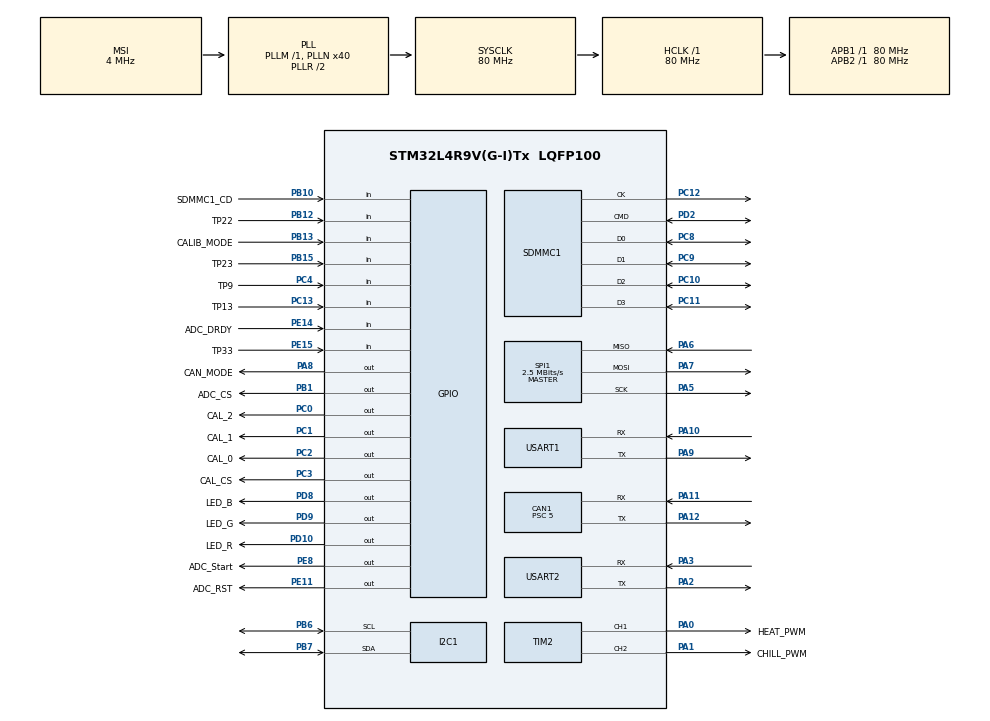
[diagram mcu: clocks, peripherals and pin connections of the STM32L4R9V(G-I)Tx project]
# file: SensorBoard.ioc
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CAN1.AWUM=ENABLE
CAN1.BS1=CAN_BS1_13TQ
CAN1.BS2=CAN_BS2_2TQ
CAN1.CalculateBaudRate=1000000
CAN1.CalculateTimeBit=1000.00
CAN1.CalculateTimeQuantum=62.5
CAN1.NART=ENABLE
CAN1.Prescaler=5
Dma.Request0=USART1_TX
Dma.USART1_TX.0.Direction=DMA_MEMORY_TO_PERIPH
Dma.USART1_TX.0.EventEnable=DISABLE
Dma.USART1_TX.0.Instance=DMA1_Channel1
Dma.USART1_TX.0.MemDataAlignment=DMA_MDATAALIGN_BYTE
Dma.USART1_TX.0.MemInc=DMA_MINC_ENABLE
Dma.USART1_TX.0.Mode=DMA_NORMAL
Dma.USART1_TX.0.PeriphDataAlignment=DMA_PDATAALIGN_BYTE
Dma.USART1_TX.0.PeriphInc=DMA_PINC_DISABLE
Dma.USART1_TX.0.Polarity=HAL_DMAMUX_REQUEST_GEN_RISING
Dma.USART1_TX.0.Priority=DMA_PRIORITY_LOW
Dma.USART1_TX.0.RequestNumber=1
Dma.USART1_TX.0.SignalID=NONE
Dma.USART1_TX.0.SyncEnable=DISABLE
Dma.USART1_TX.0.SyncPolarity=HAL_DMAMUX_SYNC_NO_EVENT
Dma.USART1_TX.0.SyncRequestNumber=1
Dma.USART1_TX.0.SyncSignalID=NONE
FATFS.BSP.number=1
FATFS._FS_EXFAT=1
FATFS._FS_LOCK=1
FATFS._FS_RPATH=2
FATFS._USE_CHMOD=1
FATFS._USE_EXPAND=1
FATFS._USE_FIND=1
FATFS._USE_FORWARD=1
FATFS._USE_LABEL=1
FATFS._USE_LFN=3
FATFS._USE_MUTEX=1
FATFS._USE_TRIM=1
FATFS0.BSP.STBoard=false
FATFS0.BSP.api=Unknown
FATFS0.BSP.i2caddr=0
FATFS0.BSP.instance=PB10
FATFS0.BSP.ip=GPIO
FATFS0.BSP.mode=Input
FATFS0.BSP.name=Detect_SDIO
FATFS0.BSP.solution=PB10
FREERTOS.HEAP_NUMBER=5
FREERTOS.INCLUDE_pcTaskGetTaskName=1
FREERTOS.INCLUDE_uxTaskGetStackHighWaterMark2=1
FREERTOS.INCLUDE_vTaskCleanUpResources=1
FREERTOS.INCLUDE_xEventGroupSetBitFromISR=1
FREERTOS.INCLUDE_xSemaphoreGetMutexHolder=1
FREERTOS.INCLUDE_xTaskAbortDelay=1
FREERTOS.INCLUDE_xTaskGetCurrentTaskHandle=1
FREERTOS.INCLUDE_xTaskGetHandle=1
FREERTOS.Tasks01=defaultTask,24,2048,StartDefaultTask,Default,NULL,Dynamic,NULL,NULL
FREERTOS.configCHECK_FOR_STACK_OVERFLOW=2
FREERTOS.configENABLE_FPU=1
FREERTOS.configGENERATE_RUN_TIME_STATS=0
FREERTOS.configMINIMAL_STACK_SIZE=2048
FREERTOS.configRECORD_STACK_HIGH_ADDRESS=1
FREERTOS.configTOTAL_HEAP_SIZE=200000
FREERTOS.configUSE_IDLE_HOOK=0
FREERTOS.configUSE_MALLOC_FAILED_HOOK=1
FREERTOS.configUSE_NEWLIB_REENTRANT=1
FREERTOS.configUSE_POSIX_ERRNO=1
FREERTOS.configUSE_STATS_FORMATTING_FUNCTIONS=0
FREERTOS.configUSE_TICK_HOOK=0
FREERTOS.configUSE_TRACE_FACILITY=0
I2C1.Timeout=0x00008061
I2C1.Timing=0x10909CEC
Mcu.Family=STM32L4
Mcu.Name=STM32L4R9V(G-I)Tx
Mcu.Package=LQFP100
NVIC.CAN1_RX0_IRQn=true\:5\:0\:false\:false\:true\:true\:true\:true
NVIC.CAN1_RX1_IRQn=true\:5\:0\:false\:false\:true\:true\:true\:true
NVIC.CAN1_TX_IRQn=true\:5\:0\:false\:false\:true\:true\:true\:true
NVIC.DMA1_Channel1_IRQn=true\:5\:0\:false\:false\:true\:true\:false\:true
NVIC.PriorityGroup=NVIC_PRIORITYGROUP_4
NVIC.RNG_IRQn=true\:5\:0\:false\:false\:true\:true\:true\:true
NVIC.SDMMC1_IRQn=true\:5\:0\:false\:false\:true\:true\:true\:true
NVIC.SPI1_IRQn=true\:5\:0\:false\:false\:true\:true\:true\:true
NVIC.TIM1_BRK_TIM15_IRQn=true\:5\:0\:false\:false\:true\:true\:true\:true
NVIC.TIM1_TRG_COM_TIM17_IRQn=true\:0\:0\:false\:false\:true\:false\:false\:true
NVIC.TIM1_UP_TIM16_IRQn=true\:5\:0\:false\:false\:true\:true\:true\:true
NVIC.TimeBase=TIM1_TRG_COM_TIM17_IRQn
NVIC.TimeBaseIP=TIM17
NVIC.USART1_IRQn=true\:5\:0\:false\:false\:true\:true\:true\:true
NVIC.USART2_IRQn=true\:5\:0\:false\:false\:true\:true\:true\:true
PA0.GPIO_Label=HEAT_PWM
PA0.Signal=S_TIM2_CH1
PA1.GPIO_Label=CHILL_PWM
PA1.Signal=S_TIM2_CH2
PA10.Mode=Asynchronous
PA10.Signal=USART1_RX
PA11.Mode=CAN_Activate
PA11.Signal=CAN1_RX
PA12.Mode=CAN_Activate
PA12.Signal=CAN1_TX
PA13\ (JTMS/SWDIO).Mode=Trace_Synchro_4bits_JTAG
PA13\ (JTMS/SWDIO).Signal=SYS_JTMS-SWDIO
PA14\ (JTCK/SWCLK).Mode=Trace_Synchro_4bits_JTAG
PA14\ (JTCK/SWCLK).Signal=SYS_JTCK-SWCLK
PA15\ (JTDI).Mode=Trace_Synchro_4bits_JTAG
PA15\ (JTDI).Signal=SYS_JTDI
PA2.Mode=Asynchronous
PA2.Signal=USART2_TX
PA3.Mode=Asynchronous
PA3.Signal=USART2_RX
PA5.Mode=Full_Duplex_Master
PA5.Signal=SPI1_SCK
PA6.Mode=Full_Duplex_Master
PA6.Signal=SPI1_MISO
PA7.Mode=Full_Duplex_Master
PA7.Signal=SPI1_MOSI
PA8.GPIO_Label=CAN_MODE
PA8.Signal=GPIO_Output
PA9.Mode=Asynchronous
PA9.Signal=USART1_TX
PB1.GPIO_Label=ADC_CS
PB1.Signal=GPIO_Output
PB10.GPIO_Label=SDMMC1_CD
PB10.Signal=GPIO_Input
PB12.GPIO_Label=TP22
PB12.Signal=GPIO_Input
PB13.GPIO_Label=CALIB_MODE
PB13.Signal=GPIO_Input
PB15.GPIO_Label=TP23
PB15.Signal=GPIO_Input
PB3\ (JTDO/TRACESWO).Mode=Trace_Synchro_4bits_JTAG
PB3\ (JTDO/TRACESWO).Signal=SYS_JTDO-SWO
PB6.Mode=I2C
PB6.Signal=I2C1_SCL
PB7.Mode=I2C
PB7.Signal=I2C1_SDA
PC0.GPIO_Label=CAL_2
PC0.Signal=GPIO_Output
PC1.GPIO_Label=CAL_1
PC1.Signal=GPIO_Output
PC10.Mode=SD_4_bits_Wide_bus
PC10.Signal=SDMMC1_D2
PC11.Mode=SD_4_bits_Wide_bus
PC11.Signal=SDMMC1_D3
PC12.Mode=SD_4_bits_Wide_bus
PC12.Signal=SDMMC1_CK
PC13.GPIO_Label=TP13
PC13.Signal=GPIO_Input
PC2.GPIO_Label=CAL_0
PC2.Signal=GPIO_Output
PC3.GPIO_Label=CAL_CS
PC3.Signal=GPIO_Output
PC4.GPIO_Label=TP9
PC4.Signal=GPIO_Input
PC8.Mode=SD_4_bits_Wide_bus
PC8.Signal=SDMMC1_D0
PC9.Mode=SD_4_bits_Wide_bus
PC9.Signal=SDMMC1_D1
PD10.GPIO_Label=LED_R
PD10.Signal=GPIO_Output
PD2.Mode=SD_4_bits_Wide_bus
PD2.Signal=SDMMC1_CMD
PD8.GPIO_Label=LED_B
PD8.Signal=GPIO_Output
PD9.GPIO_Label=LED_G
PD9.Signal=GPIO_Output
PE11.GPIO_Label=ADC_RST
PE11.Signal=GPIO_Output
PE14.GPIO_Label=ADC_DRDY
PE14.Signal=GPIO_Input
PE15.GPIO_Label=TP33
PE15.Signal=GPIO_Input
PE2.Mode=Trace_Synchro_4bits_JTAG
PE2.Signal=SYS_TRACECLK
PE3.Mode=Trace_Synchro_4bits_JTAG
PE3.Signal=SYS_TRACED0
PE4.Mode=Trace_Synchro_4bits_JTAG
PE4.Signal=SYS_TRACED1
PE5.Mode=Trace_Synchro_4bits_JTAG
PE5.Signal=SYS_TRACED2
PE6.Mode=Trace_Synchro_4bits_JTAG
PE6.Signal=SYS_TRACED3
PE8.GPIO_Label=ADC_Start
PE8.Signal=GPIO_Output
ProjectManager.HeapSize=0x400
ProjectManager.StackSize=0x800
ProjectManager.TargetToolchain=STM32CubeIDE
RCC.ADCFreq_Value=32000000
RCC.AHBFreq_Value=80000000
RCC.APB1Freq_Value=80000000
RCC.APB1TimFreq_Value=80000000
RCC.APB2Freq_Value=80000000
RCC.APB2TimFreq_Value=80000000
RCC.CortexFreq_Value=80000000
RCC.HCLKFreq_Value=80000000
RCC.HSE_VALUE=8000000
RCC.HSI48_VALUE=48000000
RCC.HSI_VALUE=16000000
RCC.LSE_VALUE=32768
RCC.MSI_VALUE=4000000
RCC.PLLN=40
RCC.PLLP=RCC_PLLP_DIV4
RCC.PLLSAI1N=16
RCC.SYSCLKFreq_VALUE=80000000
RCC.SYSCLKSource=RCC_SYSCLKSOURCE_PLLCLK
RCC.USBFreq_Value=32000000
RCC.VCOOutputFreq_Value=160000000
SDMMC1.ClockDiv=8
SDMMC1.HardwareFlowControl=SDMMC_HARDWARE_FLOW_CONTROL_ENABLE
SH.S_TIM2_CH1.0=TIM2_CH1,PWM Generation1 CH1
SH.S_TIM2_CH2.0=TIM2_CH2,PWM Generation2 CH2
SPI1.BaudRatePrescaler=SPI_BAUDRATEPRESCALER_32
SPI1.CLKPolarity=SPI_POLARITY_HIGH
SPI1.CalculateBaudRate=2.5 MBits/s
SPI1.DataSize=SPI_DATASIZE_8BIT
SPI1.Direction=SPI_DIRECTION_2LINES
SPI1.Mode=SPI_MODE_MASTER
SPI1.NSSPMode=SPI_NSS_PULSE_DISABLE
SPI1.VirtualType=VM_MASTER
TIM15.Period=1000
TIM15.Prescaler=80-1
TIM16.Prescaler=80-1
TIM2.Channel-PWM\ Generation1\ CH1=TIM_CHANNEL_1
TIM2.Channel-PWM\ Generation2\ CH2=TIM_CHANNEL_2
USART1.VirtualMode-Asynchronous=VM_ASYNC
USART2.VirtualMode-Asynchronous=VM_ASYNC
VP_CRC_VS_CRC.Mode=CRC_Activate
VP_FATFS_VS_SDIO.Mode=SDIO
VP_FREERTOS_VS_CMSIS_V2.Mode=CMSIS_V2
VP_RNG_VS_RNG.Mode=RNG_Activate
VP_SYS_VS_tim17.Mode=TIM17
VP_TIM15_VS_ClockSourceINT.Mode=Internal
VP_TIM16_VS_ClockSourceINT.Mode=Enable_Timer
board=custom

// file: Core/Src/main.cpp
/* USER CODE BEGIN Header */
/**
 ******************************************************************************
 * @file           : main.c
 * @brief          : Main program body
 ******************************************************************************
 * @attention
 *
 * <h2><center>&copy; Copyright (c) 2021 STMicroelectronics.
 * All rights reserved.</center></h2>
 *
 * This software component is licensed by ST under BSD 3-Clause license,
 * the "License"; You may not use this file except in compliance with the
 * License. You may obtain a copy of the License at:
 *                        opensource.org/licenses/BSD-3-Clause
 *
 ******************************************************************************
 */

/* USER CODE END Header */
#include "main.h"
#include "cmsis_os.h"
#include "can.h"
#include "crc.h"
#include "dma.h"
#include "fatfs.h"
#include "i2c.h"
#include "rng.h"
#include "sdmmc.h"
#include "spi.h"
#include "tim.h"
#include "usart.h"
#include "gpio.h"

/* USER CODE BEGIN Includes */
#include "bsp/DS28CM00ID/DS28CM00ID.h"
#include "bsp/LEDs/LEDManager.h"
#include "Logging/UARTLogHandler.h"
#include "bsp/UART/UARTManager.h"
/* USER CODE END Includes */

/* USER CODE BEGIN PV */
DS28CM00_ID id1(&hi2c1);
LEDManager leds(
{ .port = GPIOD, .pin = LED_R_Pin },
{ .port = GPIOD, .pin = LED_G_Pin },
{ .port = GPIOD, .pin = LED_B_Pin });
UARTManager uartMan(&huart1);
UARTLogHandler *handler(UARTLogHandler::configure(&uartMan, LOG_LEVEL_ALL));
Logger Log("app");
/* USER CODE END PV */

void SystemClock_Config(void);
void MX_FREERTOS_Init(void);

/* USER CODE BEGIN 0 */
void* operator new(std::size_t sz)
{
    return pvPortMalloc(sz);
}

void operator delete(void* ptr) noexcept
{
	vPortFree(ptr);
}
/* USER CODE END 0 */

int main(void)
{

	/* MCU Configuration--------------------------------------------------------*/

	/* Reset of all peripherals, Initializes the Flash interface and the Systick. */
	HAL_Init();

	/* Configure the system clock */
	SystemClock_Config();

	/* Initialize all configured peripherals */
	MX_GPIO_Init();
	MX_DMA_Init();
	MX_CAN1_Init();
	MX_I2C1_Init();
	MX_SDMMC1_SD_Init();
	MX_SPI1_Init();
	MX_USART1_UART_Init();
	MX_USART2_UART_Init();
	MX_TIM2_Init();
	MX_CRC_Init();
	MX_RNG_Init();
	MX_FATFS_Init();
	MX_TIM15_Init();
	MX_TIM16_Init();
	/* USER CODE BEGIN 2 */
	HAL_GPIO_WritePin(CAN_MODE_GPIO_Port, CAN_MODE_Pin, GPIO_PIN_RESET);
	/* USER CODE END 2 */

	/* Init scheduler */
	osKernelInitialize(); /* Call init function for freertos objects (in freertos.c) */
	MX_FREERTOS_Init();
	/* Start scheduler */
	osKernelStart();

	/* We should never get here as control is now taken by the scheduler */
	/* Infinite loop */
	/* USER CODE BEGIN WHILE */
	while (1)
	{
//		HAL_Delay(5000);
//		HAL_NVIC_SystemReset();

		/* USER CODE END WHILE */
	}
}

void SystemClock_Config(void)
{
	RCC_OscInitTypeDef RCC_OscInitStruct =
	{ 0 };
	RCC_ClkInitTypeDef RCC_ClkInitStruct =
	{ 0 };
	RCC_PeriphCLKInitTypeDef PeriphClkInit =
	{ 0 };

	/** Configure the main internal regulator output voltage
	 */
	if (HAL_PWREx_ControlVoltageScaling(PWR_REGULATOR_VOLTAGE_SCALE1) != HAL_OK)
	{
		Error_Handler();
	}
	/** Initializes the RCC Oscillators according to the specified parameters
	 * in the RCC_OscInitTypeDef structure.
	 */
	RCC_OscInitStruct.OscillatorType = RCC_OSCILLATORTYPE_MSI;
	RCC_OscInitStruct.MSIState = RCC_MSI_ON;
	RCC_OscInitStruct.MSICalibrationValue = 0;
	RCC_OscInitStruct.MSIClockRange = RCC_MSIRANGE_6;
	RCC_OscInitStruct.PLL.PLLState = RCC_PLL_ON;
	RCC_OscInitStruct.PLL.PLLSource = RCC_PLLSOURCE_MSI;
	RCC_OscInitStruct.PLL.PLLM = 1;
	RCC_OscInitStruct.PLL.PLLN = 40;
	RCC_OscInitStruct.PLL.PLLP = RCC_PLLP_DIV4;
	RCC_OscInitStruct.PLL.PLLQ = RCC_PLLQ_DIV2;
	RCC_OscInitStruct.PLL.PLLR = RCC_PLLR_DIV2;
	if (HAL_RCC_OscConfig(&RCC_OscInitStruct) != HAL_OK)
	{
		Error_Handler();
	}
	/** Initializes the CPU, AHB and APB buses clocks
	 */
	RCC_ClkInitStruct.ClockType = RCC_CLOCKTYPE_HCLK | RCC_CLOCKTYPE_SYSCLK
			| RCC_CLOCKTYPE_PCLK1 | RCC_CLOCKTYPE_PCLK2;
	RCC_ClkInitStruct.SYSCLKSource = RCC_SYSCLKSOURCE_PLLCLK;
	RCC_ClkInitStruct.AHBCLKDivider = RCC_SYSCLK_DIV1;
	RCC_ClkInitStruct.APB1CLKDivider = RCC_HCLK_DIV1;
	RCC_ClkInitStruct.APB2CLKDivider = RCC_HCLK_DIV1;

	if (HAL_RCC_ClockConfig(&RCC_ClkInitStruct, FLASH_LATENCY_3) != HAL_OK)
	{
		Error_Handler();
	}
	PeriphClkInit.PeriphClockSelection = RCC_PERIPHCLK_USART1
			| RCC_PERIPHCLK_USART2 | RCC_PERIPHCLK_I2C1 | RCC_PERIPHCLK_SDMMC1
			| RCC_PERIPHCLK_RNG;
	PeriphClkInit.Usart1ClockSelection = RCC_USART1CLKSOURCE_PCLK2;
	PeriphClkInit.Usart2ClockSelection = RCC_USART2CLKSOURCE_PCLK1;
	PeriphClkInit.I2c1ClockSelection = RCC_I2C1CLKSOURCE_PCLK1;
	PeriphClkInit.RngClockSelection = RCC_RNGCLKSOURCE_PLLSAI1;
	PeriphClkInit.Sdmmc1ClockSelection = RCC_SDMMC1CLKSOURCE_PLLP;
	PeriphClkInit.PLLSAI1.PLLSAI1Source = RCC_PLLSOURCE_MSI;
	PeriphClkInit.PLLSAI1.PLLSAI1M = 1;
	PeriphClkInit.PLLSAI1.PLLSAI1N = 16;
	PeriphClkInit.PLLSAI1.PLLSAI1P = RCC_PLLP_DIV2;
	PeriphClkInit.PLLSAI1.PLLSAI1Q = RCC_PLLQ_DIV2;
	PeriphClkInit.PLLSAI1.PLLSAI1R = RCC_PLLR_DIV2;
	PeriphClkInit.PLLSAI1.PLLSAI1ClockOut = RCC_PLLSAI1_48M2CLK;
	if (HAL_RCCEx_PeriphCLKConfig(&PeriphClkInit) != HAL_OK)
	{
		Error_Handler();
	}
}

/* USER CODE BEGIN 4 */
extern void canopen_oneMs(void);

/* USER CODE END 4 */

void HAL_TIM_PeriodElapsedCallback(TIM_HandleTypeDef *htim)
{
	/* USER CODE BEGIN Callback 0 */
	if (htim->Instance == TIM15)
	{
		canopen_oneMs();
	}
	/* USER CODE END Callback 0 */
	if (htim->Instance == TIM17)
	{
		HAL_IncTick();
	}
}

void Error_Handler(void)
{
	__disable_irq();
	while (1)
	{
	}
}

/************************ (C) COPYRIGHT STMicroelectronics *****END OF FILE****/
